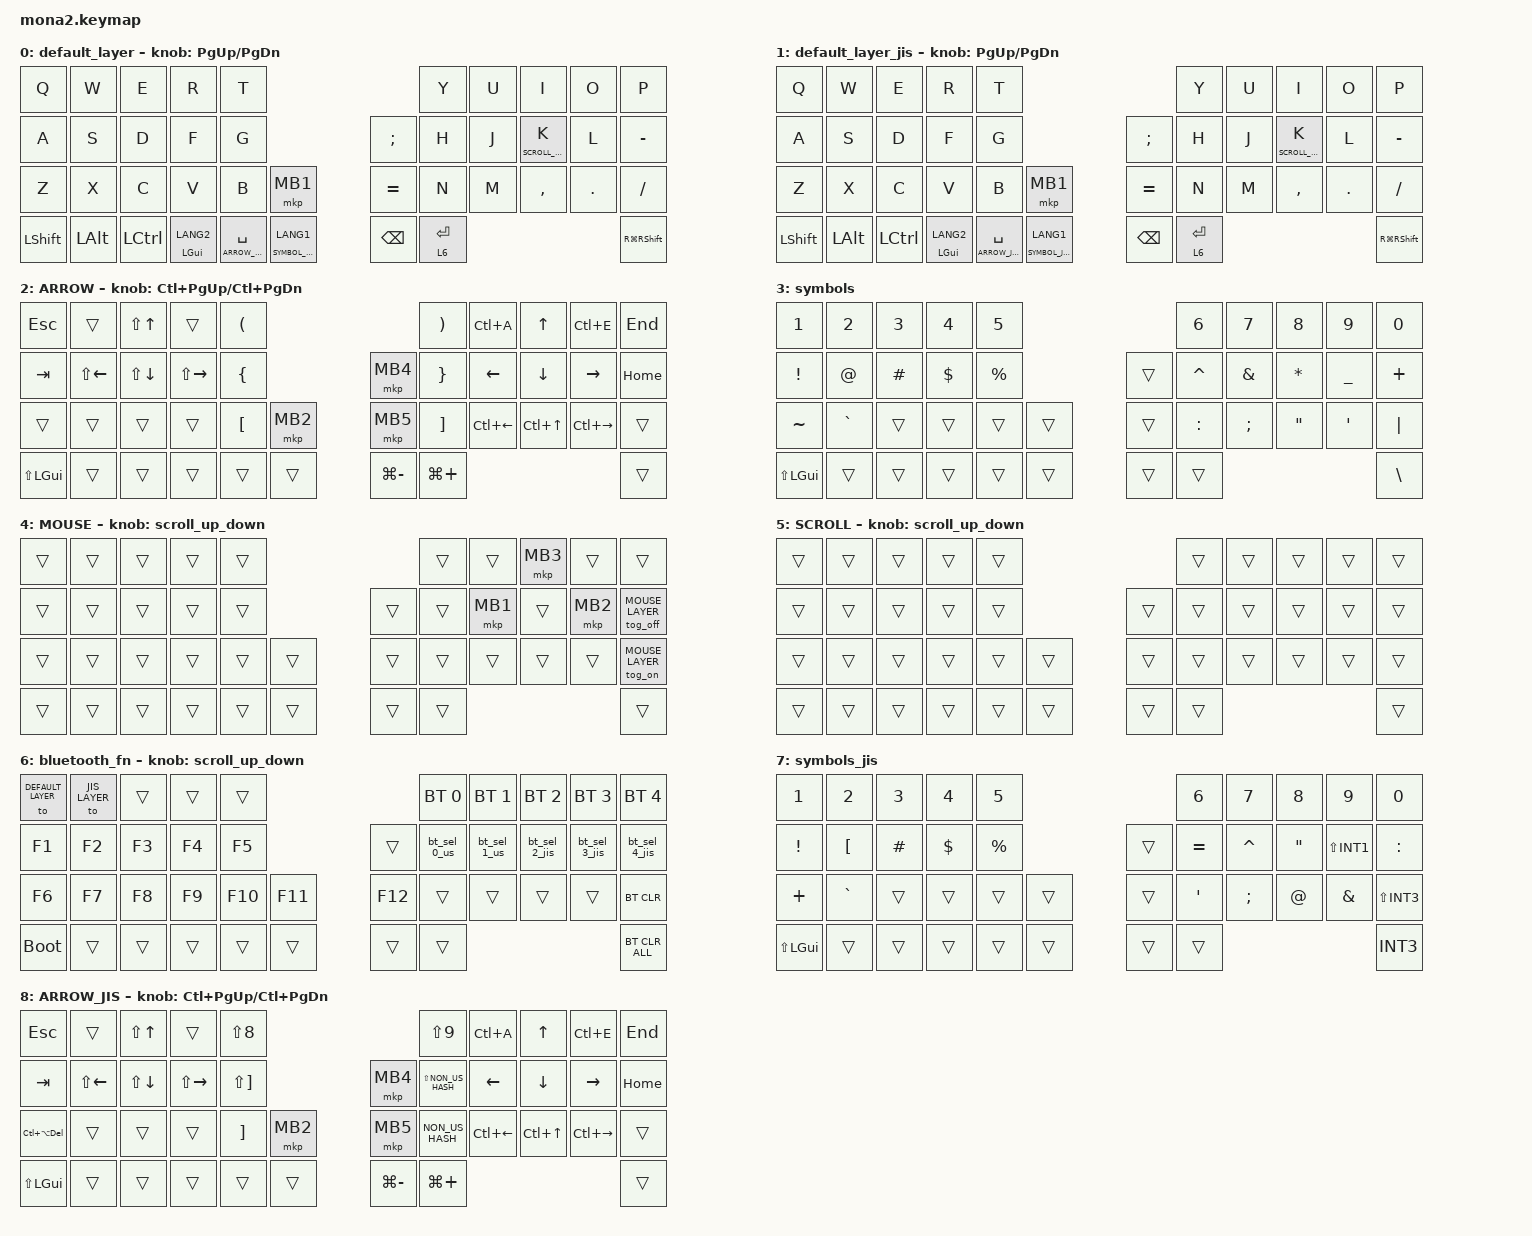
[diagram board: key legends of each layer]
#include <input/processors.dtsi>
#include <dt-bindings/zmk/input_transform.h>
#include <zephyr/dt-bindings/input/input-event-codes.h>
#include <behaviors.dtsi>
#include <dt-bindings/zmk/bt.h>
#include <dt-bindings/zmk/keys.h>
#include <dt-bindings/zmk/pointing.h>

#define DEFAULT_LAYER 0
#define JIS_LAYER 1
#define ARROW_LAYER 2
#define SYMBOL_LAYER 3
#define MOUSE_LAYER 4
#define SCROLL_LAYER 5
#define BLUETOOTH_LAYER 6
#define SYMBOL_JIS_LAYER 7
#define ARROW_JIS_LAYER 8
#define AML_TIMEOUT_MS 10000
#define AML_IDLE_GUARD_MS 200

&mt {
    flavor = "balanced";
    quick-tap-ms = <0>;
};

&lt {
    quick-tap-ms = <300>;
    flavor = "balanced";
};

/ {
    input_processors {
        aml_temp_layer: aml_temp_layer {
            compatible = "zmk,input-processor-temp-layer";
            #input-processor-cells = <2>;
            require-prior-idle-ms = <AML_IDLE_GUARD_MS>;
            excluded-positions = <
                7
                17
                19
                20
                26
                29
                30
                32
                33
            >;
        };
    };

    combos { compatible = "zmk,combos"; };

    macros {
        to_layer_0: to_layer_0 {
            compatible = "zmk,behavior-macro-one-param";
            #binding-cells = <1>;
            bindings = <&to DEFAULT_LAYER &macro_param_1to1 &kp MACRO_PLACEHOLDER>;
            label = "TO_LAYER_0";
        };

        bt_sel_0_us: bt_sel_0_jis {
            compatible = "zmk,behavior-macro";
            #binding-cells = <0>;
            bindings = <&bt BT_SEL 0 &to 0>;
            label = "BT_SEL_0_JIS";
        };

        bt_sel_1_us: bt_sel_1_jis {
            compatible = "zmk,behavior-macro";
            #binding-cells = <0>;
            bindings = <&bt BT_SEL 1 &to 0>;
            label = "BT_SEL_1_JIS";
        };

        bt_sel_2_jis: bt_sel_2_jis {
            compatible = "zmk,behavior-macro";
            #binding-cells = <0>;
            bindings = <&bt BT_SEL 2 &to JIS_LAYER>;
            label = "BT_SEL_2_JIS";
        };

        bt_sel_3_jis: bt_sel_3_jis {
            compatible = "zmk,behavior-macro";
            #binding-cells = <0>;
            bindings = <&bt BT_SEL 3 &to JIS_LAYER>;
            label = "BT_SEL_3_JIS";
        };

        bt_sel_4_jis: bt_sel_4_jis {
            compatible = "zmk,behavior-macro";
            #binding-cells = <0>;
            bindings = <&bt BT_SEL 4 &to JIS_LAYER>;
            label = "BT_SEL_4_JIS";
        };
    };

    behaviors {
        tog_on: toggle_layer_on {
            compatible = "zmk,behavior-toggle-layer";
            #binding-cells = <1>;
            toggle-mode = "on";
        };

        tog_off: toggle_layer_off {
            compatible = "zmk,behavior-toggle-layer";
            #binding-cells = <1>;
            toggle-mode = "off";
        };

        lt_to_layer_0: lt_to_layer_0 {
            compatible = "zmk,behavior-hold-tap";
            label = "LAYER_TAP_TO_0";
            bindings = <&mo>, <&to_layer_0>;

            #binding-cells = <2>;
            tapping-term-ms = <200>;
        };

        scroll_up_down: mouse_wheel_up_down {
            compatible = "zmk,behavior-sensor-rotate";
            #sensor-binding-cells = <0>;
            bindings = <&msc SCRL_DOWN>, <&msc SCRL_UP>;

            tap-ms = <20>;
        };

        scroll_right_left: mouse_wheel_right_left {
            compatible = "zmk,behavior-sensor-rotate";
            #sensor-binding-cells = <0>;
            bindings = <&msc SCRL_LEFT>, <&msc SCRL_RIGHT>;

            tap-ms = <20>;
        };

        lang_change_tap_dance: lang_change_tap_dance {
            compatible = "zmk,behavior-tap-dance";
            label = "LANG_CHANGE_TAP_DANCE";
            #binding-cells = <0>;
            bindings = <&mt LEFT_GUI LANG1>, <&kp LANG2>;
        };
    };

    keymap {
        compatible = "zmk,keymap";

        default_layer {
            bindings = <
&kp Q           &kp W         &kp E             &kp R               &kp T                                                           &kp Y         &kp U  &kp I               &kp O    &kp P
&kp A           &kp S         &kp D             &kp F               &kp G                                            &kp SEMICOLON  &kp H         &kp J  &lt SCROLL_LAYER K  &kp L    &kp MINUS
&kp Z           &kp X         &kp C             &kp V               &kp B                  &mkp MB1                  &kp EQUAL      &kp N         &kp M  &kp COMMA           &kp DOT  &kp SLASH
&kp LEFT_SHIFT  &kp LEFT_ALT  &kp LEFT_CONTROL  &mt LEFT_GUI LANG2  &lt ARROW_LAYER SPACE  &lt SYMBOL_LAYER LANG1    &kp BACKSPACE  &lt 6 RETURN                                      &kp RG(RSHFT)
            >;

            sensor-bindings = <&inc_dec_kp PG_UP PAGE_DOWN>;
        };

        default_layer_jis {
            bindings = <
&kp Q           &kp W         &kp E             &kp R               &kp T                                                                   &kp Y         &kp U  &kp I               &kp O    &kp P
&kp A           &kp S         &kp D             &kp F               &kp G                                                    &kp SEMICOLON  &kp H         &kp J  &lt SCROLL_LAYER K  &kp L    &kp MINUS
&kp Z           &kp X         &kp C             &kp V               &kp B                      &mkp MB1                      &kp EQUAL      &kp N         &kp M  &kp COMMA           &kp DOT  &kp SLASH
&kp LEFT_SHIFT  &kp LEFT_ALT  &kp LEFT_CONTROL  &mt LEFT_GUI LANG2  &lt ARROW_JIS_LAYER SPACE  &lt SYMBOL_JIS_LAYER LANG1    &kp BACKSPACE  &lt 6 RETURN                                      &kp RG(RSHFT)
            >;

            sensor-bindings = <&inc_dec_kp PG_UP PAGE_DOWN>;
        };

        ARROW {
            bindings = <
&kp ESCAPE        &trans        &kp LS(UP_ARROW)  &trans         &kp LEFT_PARENTHESIS                             &kp RIGHT_PARENTHESIS  &kp LC(A)           &kp UP_ARROW      &kp LC(E)            &kp END
&kp TAB           &kp LS(LEFT)  &kp LS(DOWN)      &kp LS(RIGHT)  &kp LEFT_BRACE                    &mkp MB4       &kp RIGHT_BRACE        &kp LEFT_ARROW      &kp DOWN_ARROW    &kp RIGHT_ARROW      &kp HOME
&trans            &trans        &trans            &trans         &kp LEFT_BRACKET      &mkp MB2    &mkp MB5       &kp RIGHT_BRACKET      &kp LC(LEFT_ARROW)  &kp LC(UP_ARROW)  &kp LC(RIGHT_ARROW)  &trans
&kp LS(LEFT_GUI)  &trans        &trans            &trans         &trans                &trans      &kp LG(MINUS)  &kp LG(PLUS)                                                                      &trans
            >;

            sensor-bindings = <&inc_dec_kp LC(PAGE_UP) LC(PAGE_DOWN)>;
        };

        symbols {
            bindings = <
&kp N1            &kp N2       &kp N3    &kp N4      &kp N5                         &kp N6     &kp N7         &kp N8             &kp N9            &kp N0
&kp EXCLAMATION   &kp AT_SIGN  &kp HASH  &kp DOLLAR  &kp PERCENT            &trans  &kp CARET  &kp AMPERSAND  &kp ASTERISK       &kp UNDERSCORE    &kp PLUS
&kp TILDE         &kp GRAVE    &trans    &trans      &trans       &trans    &trans  &kp COLON  &kp SEMICOLON  &kp DOUBLE_QUOTES  &kp SINGLE_QUOTE  &kp PIPE
&kp LS(LEFT_GUI)  &trans       &trans    &trans      &trans       &trans    &trans  &trans                                                         &kp BACKSLASH
            >;
        };

        MOUSE {
            bindings = <
&trans  &trans  &trans  &trans  &trans                    &trans  &trans    &mkp MB3  &trans    &trans
&trans  &trans  &trans  &trans  &trans            &trans  &trans  &mkp MB1  &trans    &mkp MB2  &tog_off MOUSE_LAYER
&trans  &trans  &trans  &trans  &trans  &trans    &trans  &trans  &trans    &trans    &trans    &tog_on MOUSE_LAYER
&trans  &trans  &trans  &trans  &trans  &trans    &trans  &trans                                &trans
            >;

            sensor-bindings = <&scroll_up_down>;
        };

        SCROLL {
            bindings = <
&trans  &trans  &trans  &trans  &trans                    &trans  &trans  &trans  &trans  &trans
&trans  &trans  &trans  &trans  &trans            &trans  &trans  &trans  &trans  &trans  &trans
&trans  &trans  &trans  &trans  &trans  &trans    &trans  &trans  &trans  &trans  &trans  &trans
&trans  &trans  &trans  &trans  &trans  &trans    &trans  &trans                          &trans
            >;

            sensor-bindings = <&scroll_up_down>;
        };

        bluetooth_fn {
            bindings = <
&to DEFAULT_LAYER  &to JIS_LAYER  &trans  &trans  &trans                       &bt BT_SEL 0  &bt BT_SEL 1  &bt BT_SEL 2   &bt BT_SEL 3   &bt BT_SEL 4
&kp F1             &kp F2         &kp F3  &kp F4  &kp F5              &trans   &bt_sel_0_us  &bt_sel_1_us  &bt_sel_2_jis  &bt_sel_3_jis  &bt_sel_4_jis
&kp F6             &kp F7         &kp F8  &kp F9  &kp F10  &kp F11    &kp F12  &trans        &trans        &trans         &trans         &bt BT_CLR
&bootloader        &trans         &trans  &trans  &trans   &trans     &trans   &trans                                                    &bt BT_CLR_ALL
            >;

            sensor-bindings = <&scroll_up_down>;
        };

        symbols_jis {
            bindings = <
&kp N1            &kp N2            &kp N3    &kp N4      &kp N5                         &kp N6            &kp N7         &kp N8             &kp N9         &kp N0
&kp EXCLAMATION   &kp LEFT_BRACKET  &kp HASH  &kp DOLLAR  &kp PERCENT            &trans  &kp EQUAL         &kp CARET      &kp DOUBLE_QUOTES  &kp LS(INT1)   &kp COLON
&kp PLUS          &kp GRAVE         &trans    &trans      &trans       &trans    &trans  &kp SINGLE_QUOTE  &kp SEMICOLON  &kp AT_SIGN        &kp AMPERSAND  &kp LS(INT3)
&kp LS(LEFT_GUI)  &trans            &trans    &trans      &trans       &trans    &trans  &trans                                                             &kp INT3
            >;
        };

        ARROW_JIS {
            bindings = <
&kp ESCAPE          &trans        &kp LS(UP_ARROW)  &trans         &kp LS(N8)                                        &kp LS(N9)           &kp LC(A)           &kp UP_ARROW      &kp LC(E)            &kp END
&kp TAB             &kp LS(LEFT)  &kp LS(DOWN)      &kp LS(RIGHT)  &kp LS(RIGHT_BRACKET)              &mkp MB4       &kp LS(NON_US_HASH)  &kp LEFT_ARROW      &kp DOWN_ARROW    &kp RIGHT_ARROW      &kp HOME
&kp LC(LA(DELETE))  &trans        &trans            &trans         &kp RIGHT_BRACKET      &mkp MB2    &mkp MB5       &kp NON_US_HASH      &kp LC(LEFT_ARROW)  &kp LC(UP_ARROW)  &kp LC(RIGHT_ARROW)  &trans
&kp LS(LEFT_GUI)    &trans        &trans            &trans         &trans                 &trans      &kp LG(MINUS)  &kp LG(PLUS)                                                                    &trans
            >;

            sensor-bindings = <&inc_dec_kp LC(PAGE_UP) LC(PAGE_DOWN)>;
        };
    };
};

&trackball_central_listener {
    input-processors =
        <&zip_xy_transform INPUT_TRANSFORM_Y_INVERT>,
        <&aml_temp_layer MOUSE_LAYER AML_TIMEOUT_MS>;
};

&mkp_input_listener { input-processors = <&aml_temp_layer MOUSE_LAYER AML_TIMEOUT_MS>; };
